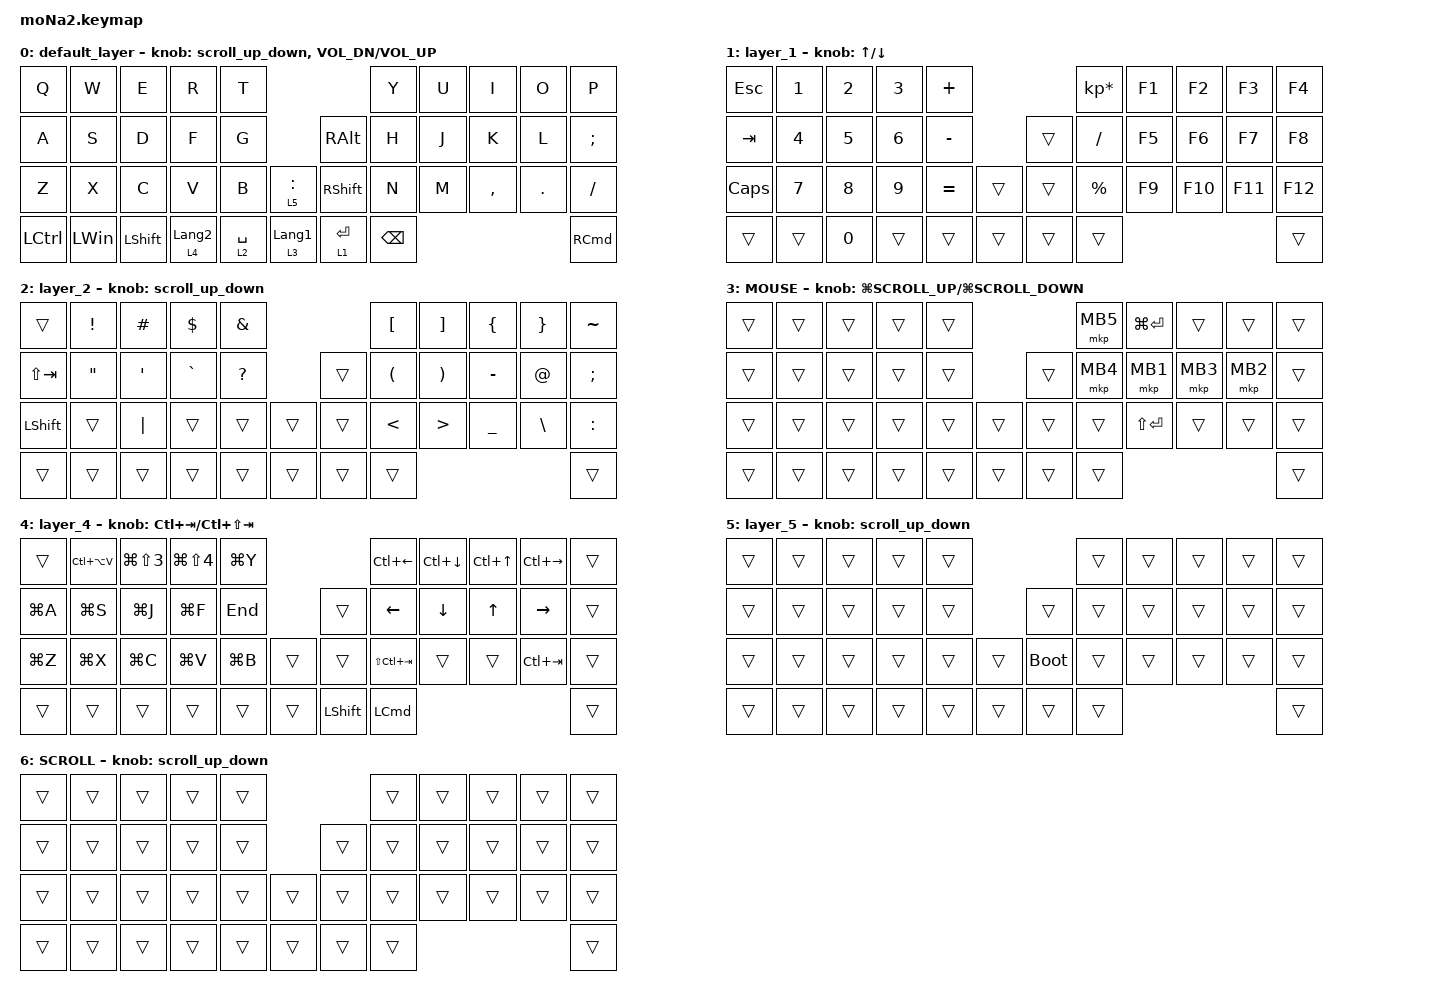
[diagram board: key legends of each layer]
#include <behaviors.dtsi>
#include <dt-bindings/zmk/keys.h>
#include <dt-bindings/zmk/pointing.h>

#define ZMK_POINTING_DEFAULT_SCRL_VAL 100
#define MOUSE 5
#define SCROLL 6

&mt {
    flavor = "balanced";
    quick-tap-ms = <0>;
};

/ {
    combos { compatible = "zmk,combos"; };

    macros {
        to_layer_0: to_layer_0 {
            compatible = "zmk,behavior-macro-one-param";
            #binding-cells = <1>;
            bindings = <&to 0 &macro_param_1to1 &kp MACRO_PLACEHOLDER>;
            label = "TO_LAYER_0";
        };
    };

    behaviors {
        lt_to_layer_0: lt_to_layer_0 {
            compatible = "zmk,behavior-hold-tap";
            label = "LAYER_TAP_TO_0";
            bindings = <&mo>, <&to_layer_0>;

            #binding-cells = <2>;
            tapping-term-ms = <200>;
        };

        scroll_up_down: behavior_sensor_rotate_mouse_wheel_up_down {
            compatible = "zmk,behavior-sensor-rotate";
            #sensor-binding-cells = <0>;
            bindings = <&msc SCRL_UP>, <&msc SCRL_DOWN>;

            tap-ms = <20>;
        };
    };

    keymap {
        compatible = "zmk,keymap";

        default_layer {
            bindings = <
&kp Q      &kp W         &kp E           &kp R             &kp T                                             &kp Y          &kp U  &kp I      &kp O    &kp P
&kp A      &kp S         &kp D           &kp F             &kp G                            &kp RIGHT_ALT    &kp H          &kp J  &kp K      &kp L    &kp SEMICOLON
&kp Z      &kp X         &kp C           &kp V             &kp B        &lt 5 COLON         &kp RIGHT_SHIFT  &kp N          &kp M  &kp COMMA  &kp DOT  &kp SLASH
&kp LCTRL  &kp LEFT_WIN  &kp LEFT_SHIFT  &lt 4 LANGUAGE_2  &lt 2 SPACE  &lt 3 LANGUAGE_1    &lt 1 ENTER      &kp BACKSPACE                             &kp RIGHT_COMMAND
            >;

            sensor-bindings =
                <&scroll_up_down>,
                <&inc_dec_kp C_VOL_DN C_VOL_UP>;
        };

        layer_1 {
            bindings = <
&kp ESCAPE    &kp NUMBER_1  &kp NUMBER_2  &kp NUMBER_3  &kp PLUS                     &kp KP_MULTIPLY  &kp F1  &kp F2   &kp F3   &kp F4
&kp TAB       &kp NUMBER_4  &kp NUMBER_5  &kp NUMBER_6  &kp MINUS            &trans  &kp SLASH        &kp F5  &kp F6   &kp F7   &kp F8
&kp CAPSLOCK  &kp NUMBER_7  &kp NUMBER_8  &kp NUMBER_9  &kp EQUAL  &trans    &trans  &kp PERCENT      &kp F9  &kp F10  &kp F11  &kp F12
&trans        &trans        &kp NUMBER_0  &trans        &trans     &trans    &trans  &trans                                     &trans
            >;

            sensor-bindings = <&inc_dec_kp UP_ARROW DOWN_ARROW>;
        };

        layer_2 {
            bindings = <
&trans          &kp EXCLAMATION    &kp HASH          &kp DOLLAR  &kp AMPERSAND                    &kp LEFT_BRACKET      &kp RIGHT_BRACKET      &kp LEFT_BRACE  &kp RIGHT_BRACE  &kp TILDE
&kp LS(TAB)     &kp DOUBLE_QUOTES  &kp SINGLE_QUOTE  &kp GRAVE   &kp QUESTION             &trans  &kp LEFT_PARENTHESIS  &kp RIGHT_PARENTHESIS  &kp MINUS       &kp AT_SIGN      &kp SEMICOLON
&kp LEFT_SHIFT  &trans             &kp PIPE          &trans      &trans         &trans    &trans  &kp LESS_THAN         &kp GREATER_THAN       &kp UNDERSCORE  &kp BACKSLASH    &kp COLON
&trans          &trans             &trans            &trans      &trans         &trans    &trans  &trans                                                                        &trans
            >;

            sensor-bindings = <&scroll_up_down>;
        };

        MOUSE {
            bindings = <
&trans  &trans  &trans  &trans  &trans                    &mkp MB5  &kp LG(ENTER)  &trans    &trans    &trans
&trans  &trans  &trans  &trans  &trans            &trans  &mkp MB4  &mkp MB1       &mkp MB3  &mkp MB2  &trans
&trans  &trans  &trans  &trans  &trans  &trans    &trans  &trans    &kp LS(ENTER)  &trans    &trans    &trans
&trans  &trans  &trans  &trans  &trans  &trans    &trans  &trans                                       &trans
            >;

            sensor-bindings = <&inc_dec_kp LG(K_SCROLL_UP) LG(K_SCROLL_DOWN)>;
        };

        layer_4 {
            bindings = <
&trans     &kp LC(LA(V))  &kp LG(LS(NUMBER_3))  &kp LG(LS(NUMBER_4))  &kp LG(Y)                            &kp LC(LEFT_ARROW)  &kp LC(DOWN_ARROW)  &kp LC(UP_ARROW)  &kp LC(RIGHT_ARROW)  &trans
&kp LG(A)  &kp LG(S)      &kp LG(J)             &kp LG(F)             &kp END              &trans          &kp LEFT_ARROW      &kp DOWN_ARROW      &kp UP_ARROW      &kp RIGHT_ARROW      &trans
&kp LG(Z)  &kp LG(X)      &kp LG(C)             &kp LG(V)             &kp LG(B)  &trans    &trans          &kp LS(LC(TAB))     &trans              &trans            &kp LC(TAB)          &trans
&trans     &trans         &trans                &trans                &trans     &trans    &kp LEFT_SHIFT  &kp LEFT_COMMAND                                                               &trans
            >;

            sensor-bindings = <&inc_dec_kp LC(TAB) LC(LS(TAB))>;
        };

        layer_5 {
            bindings = <
&trans  &trans  &trans  &trans  &trans                         &trans  &trans  &trans  &trans  &trans
&trans  &trans  &trans  &trans  &trans            &trans       &trans  &trans  &trans  &trans  &trans
&trans  &trans  &trans  &trans  &trans  &trans    &bootloader  &trans  &trans  &trans  &trans  &trans
&trans  &trans  &trans  &trans  &trans  &trans    &trans       &trans                          &trans
            >;

            sensor-bindings = <&scroll_up_down>;
        };

        SCROLL {
            bindings = <
&trans  &trans  &trans  &trans  &trans                    &trans  &trans  &trans  &trans  &trans
&trans  &trans  &trans  &trans  &trans            &trans  &trans  &trans  &trans  &trans  &trans
&trans  &trans  &trans  &trans  &trans  &trans    &trans  &trans  &trans  &trans  &trans  &trans
&trans  &trans  &trans  &trans  &trans  &trans    &trans  &trans                          &trans
            >;

            sensor-bindings = <&scroll_up_down>;
        };
    };
};
